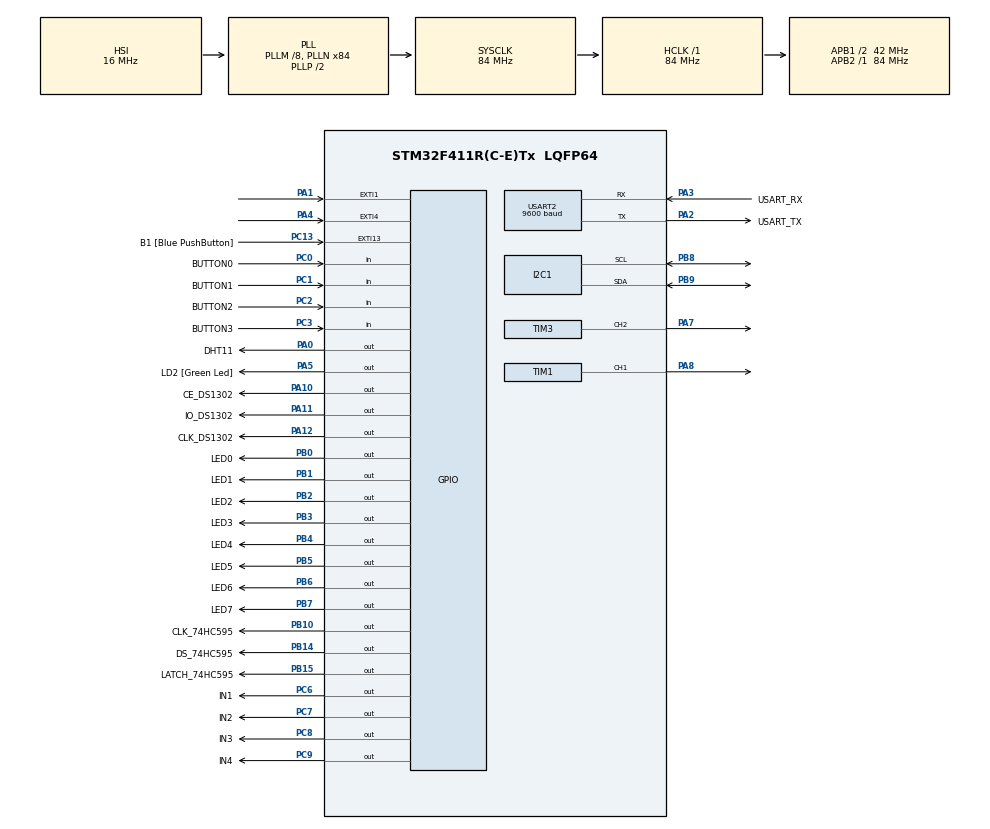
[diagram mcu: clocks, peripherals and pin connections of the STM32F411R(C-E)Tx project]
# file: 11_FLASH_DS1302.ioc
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FREERTOS.Mutexes01=myMutex01,Dynamic,NULL
FREERTOS.Tasks01=defaultTask,24,128,StartDefaultTask,Default,NULL,Dynamic,NULL,NULL;myTask01,8,128,StartTask01,Default,NULL,Dynamic,NULL,NULL;myTask02,8,128,StartTask02,Default,NULL,Dynamic,NULL,NULL
FREERTOS.configUSE_NEWLIB_REENTRANT=1
Mcu.Family=STM32F4
Mcu.Name=STM32F411R(C-E)Tx
Mcu.Package=LQFP64
NVIC.EXTI1_IRQn=true\:5\:0\:false\:false\:true\:true\:true\:true
NVIC.EXTI4_IRQn=true\:5\:0\:false\:false\:true\:true\:true\:true
NVIC.PriorityGroup=NVIC_PRIORITYGROUP_4
NVIC.TIM1_TRG_COM_TIM11_IRQn=true\:5\:0\:false\:false\:true\:false\:false\:true
NVIC.TIM1_UP_TIM10_IRQn=true\:5\:0\:false\:false\:true\:true\:true\:true
NVIC.TimeBase=TIM1_TRG_COM_TIM11_IRQn
NVIC.TimeBaseIP=TIM11
NVIC.USART2_IRQn=true\:5\:0\:false\:false\:true\:true\:true\:true
PA0-WKUP.GPIO_Label=DHT11
PA0-WKUP.Signal=GPIO_Output
PA1.Signal=GPXTI1
PA10.GPIO_Label=CE_DS1302
PA10.Signal=GPIO_Output
PA11.GPIO_Label=IO_DS1302
PA11.Signal=GPIO_Output
PA12.GPIO_Label=CLK_DS1302
PA12.Signal=GPIO_Output
PA13.GPIO_Label=TMS
PA13.Mode=Serial_Wire
PA13.Signal=SYS_JTMS-SWDIO
PA14.GPIO_Label=TCK
PA14.Mode=Serial_Wire
PA14.Signal=SYS_JTCK-SWCLK
PA2.GPIO_Label=USART_TX
PA2.Mode=Asynchronous
PA2.Signal=USART2_TX
PA3.GPIO_Label=USART_RX
PA3.Mode=Asynchronous
PA3.Signal=USART2_RX
PA4.Signal=GPXTI4
PA5.GPIO_Label=LD2 [Green Led]
PA5.Signal=GPIO_Output
PA7.Signal=S_TIM3_CH2
PA8.Signal=S_TIM1_CH1
PB0.GPIO_Label=LED0
PB0.Signal=GPIO_Output
PB1.GPIO_Label=LED1
PB1.Signal=GPIO_Output
PB10.GPIO_Label=CLK_74HC595
PB10.Signal=GPIO_Output
PB14.GPIO_Label=DS_74HC595
PB14.Signal=GPIO_Output
PB15.GPIO_Label=LATCH_74HC595
PB15.Signal=GPIO_Output
PB2.GPIO_Label=LED2
PB2.Signal=GPIO_Output
PB3.GPIO_Label=LED3
PB3.Signal=GPIO_Output
PB4.GPIO_Label=LED4
PB4.Signal=GPIO_Output
PB5.GPIO_Label=LED5
PB5.Signal=GPIO_Output
PB6.GPIO_Label=LED6
PB6.Signal=GPIO_Output
PB7.GPIO_Label=LED7
PB7.Signal=GPIO_Output
PB8.Mode=I2C
PB8.Signal=I2C1_SCL
PB9.Mode=I2C
PB9.Signal=I2C1_SDA
PC0.GPIO_Label=BUTTON0
PC0.Signal=GPIO_Input
PC1.GPIO_Label=BUTTON1
PC1.Signal=GPIO_Input
PC13-ANTI_TAMP.GPIO_Label=B1 [Blue PushButton]
PC13-ANTI_TAMP.GPIO_ModeDefaultEXTI=GPIO_MODE_IT_FALLING
PC13-ANTI_TAMP.Signal=GPXTI13
PC14-OSC32_IN.Mode=LSE-External-Oscillator
PC14-OSC32_IN.Signal=RCC_OSC32_IN
PC15-OSC32_OUT.Mode=LSE-External-Oscillator
PC15-OSC32_OUT.Signal=RCC_OSC32_OUT
PC2.GPIO_Label=BUTTON2
PC2.Signal=GPIO_Input
PC3.GPIO_Label=BUTTON3
PC3.Signal=GPIO_Input
PC6.GPIO_Label=IN1
PC6.Signal=GPIO_Output
PC7.GPIO_Label=IN2
PC7.Signal=GPIO_Output
PC8.GPIO_Label=IN3
PC8.Signal=GPIO_Output
PC9.GPIO_Label=IN4
PC9.Signal=GPIO_Output
PH0\ -\ OSC_IN.Mode=HSE-External-Clock-Source
PH0\ -\ OSC_IN.Signal=RCC_OSC_IN
PH1\ -\ OSC_OUT.Mode=HSE-External-Clock-Source
PH1\ -\ OSC_OUT.Signal=RCC_OSC_OUT
ProjectManager.HeapSize=0x200
ProjectManager.StackSize=0x400
ProjectManager.TargetToolchain=STM32CubeIDE
RCC.48MHZClocksFreq_Value=42000000
RCC.AHBFreq_Value=84000000
RCC.APB1CLKDivider=RCC_HCLK_DIV2
RCC.APB1Freq_Value=42000000
RCC.APB1TimFreq_Value=84000000
RCC.APB2Freq_Value=84000000
RCC.APB2TimFreq_Value=84000000
RCC.CortexFreq_Value=84000000
RCC.FLatency-AdvancedSettings=FLASH_LATENCY_2
RCC.HCLKFreq_Value=84000000
RCC.HSE_VALUE=8000000
RCC.HSI_VALUE=16000000
RCC.PLLM=8
RCC.PLLN=84
RCC.SYSCLKFreq_VALUE=84000000
RCC.SYSCLKSource=RCC_SYSCLKSOURCE_PLLCLK
RCC.VCOOutputFreq_Value=168000000
RTC.Date=8
RTC.Hours=15
RTC.Minutes=32
RTC.Month=RTC_MONTH_OCTOBER
RTC.WeekDay=RTC_WEEKDAY_TUESDAY
RTC.Year=24
SH.S_TIM1_CH1.0=TIM1_CH1,PWM Generation1 CH1
SH.S_TIM3_CH2.0=TIM3_CH2,PWM Generation2 CH2
TIM1.Channel-PWM\ Generation1\ CH1=TIM_CHANNEL_1
TIM1.Period=400-1
TIM1.Prescaler=52.5-1
TIM1.Pulse-PWM\ Generation1\ CH1=200-1
TIM10.Period=1000-1
TIM10.Prescaler=84-1
TIM2.Prescaler=84-1
TIM3.Channel-PWM\ Generation2\ CH2=TIM_CHANNEL_2
TIM3.Period=1000-1
TIM3.Prescaler=1680-1
USART2.BaudRate=9600
USART2.VirtualMode=VM_ASYNC
VP_FREERTOS_VS_CMSIS_V2.Mode=CMSIS_V2
VP_RTC_VS_RTC_Activate.Mode=RTC_Enabled
VP_RTC_VS_RTC_Calendar.Mode=RTC_Calendar
VP_SYS_VS_tim11.Mode=TIM11
VP_TIM10_VS_ClockSourceINT.Mode=Enable_Timer
VP_TIM1_VS_ClockSourceINT.Mode=Internal
VP_TIM2_VS_ClockSourceINT.Mode=Internal
VP_TIM3_VS_ClockSourceINT.Mode=Internal
board=NUCLEO-F411RE

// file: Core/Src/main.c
/* USER CODE BEGIN Header */
/**
  ******************************************************************************
  * @file           : main.c
  * @brief          : Main program body
  ******************************************************************************
  * @attention
  *
  * <h2><center>&copy; Copyright (c) 2024 STMicroelectronics.
  * All rights reserved.</center></h2>
  *
  * This software component is licensed by ST under BSD 3-Clause license,
  * the "License"; You may not use this file except in compliance with the
  * License. You may obtain a copy of the License at:
  *                        opensource.org/licenses/BSD-3-Clause
  *
  ******************************************************************************
  */
/* USER CODE END Header */
#include "main.h"
#include "cmsis_os.h"

I2C_HandleTypeDef hi2c1;

RTC_HandleTypeDef hrtc;

TIM_HandleTypeDef htim1;
TIM_HandleTypeDef htim2;
TIM_HandleTypeDef htim3;
TIM_HandleTypeDef htim10;

UART_HandleTypeDef huart2;

/* Definitions for defaultTask */
osThreadId_t defaultTaskHandle;
const osThreadAttr_t defaultTask_attributes = {
  .name = "defaultTask",
  .stack_size = 128 * 4,
  .priority = (osPriority_t) osPriorityNormal,
};
/* Definitions for myTask01 */
osThreadId_t myTask01Handle;
const osThreadAttr_t myTask01_attributes = {
  .name = "myTask01",
  .stack_size = 128 * 4,
  .priority = (osPriority_t) osPriorityLow,
};
/* Definitions for myTask02 */
osThreadId_t myTask02Handle;
const osThreadAttr_t myTask02_attributes = {
  .name = "myTask02",
  .stack_size = 128 * 4,
  .priority = (osPriority_t) osPriorityLow,
};
/* Definitions for myMutex01 */
osMutexId_t myMutex01Handle;
const osMutexAttr_t myMutex01_attributes = {
  .name = "myMutex01"
};
/* USER CODE BEGIN PV */
volatile int TIM10_1ms_counter = 0;  // ADD_PSJ_0930
volatile int TIM10_1ms_counter1 = 0;
volatile int TIM10_DHT11_counter = 0;
volatile int TIM10_servomotor_counter = 0;
uint8_t rx_data;
/* USER CODE END PV */

void SystemClock_Config(void);
static void MX_GPIO_Init(void);
static void MX_USART2_UART_Init(void);
static void MX_TIM10_Init(void);
static void MX_TIM2_Init(void);
static void MX_RTC_Init(void);
static void MX_I2C1_Init(void);
static void MX_TIM3_Init(void);
static void MX_TIM1_Init(void);
void StartDefaultTask(void *argument);
void StartTask01(void *argument);
void StartTask02(void *argument);

/* USER CODE BEGIN PFP */
extern void led_main(void);
extern void ledbar0_toggle(void);
extern void button_check(void);
extern void pc_command_processing(void);
extern void delay_us(unsigned int us);
//extern void DHT11_main(void);
extern void DHT11_processing(void);
extern void DHT11_Init(void);
extern void get_rtc_date_time(void);
//extern void i2c_lcd_main(void);
extern void i2c_lcd_init(void);
extern void dotmatrix_main_test();
extern int dotmatrix_main(void);
extern void init_dotmatrix(void);
extern int dotmatrix_main_func(void);
extern void init_arrow_up(void);
extern void init_arrow_down(void);
extern void arrow_display(void);
extern void stepmotor_main(void);
extern void stepmotor_forward(void);
extern void arrow_display_stepmotor(void);
extern void servomotor_main(void);
extern void servo_motor_control(void);
extern void buzzer_main();
extern void get_rtc_date(void);
extern void get_rtc_time(void);
extern void flash_main(void);
extern void flash_set_time(void);
extern void alarm_clock(void);
extern void ds1302_main(void);
extern void ds1302_flash_clock(void);
extern void flash_import_time_date(void);
extern void ds1302_init_time_date(void);
extern void ds1302_set_time(void);
extern void ds1302_init_gpio_low(void);
extern void flash_export_time_date(void);
//extern void playSong();
/* USER CODE END PFP */

/* USER CODE BEGIN 0 */
//------------ printf start -----------------------
#ifdef __GNUC__    // Add for printf
/* With GCC, small printf (option LD Linker->Libraries->Small printf
   set to 'Yes') calls __io_putchar() */
#define PUTCHAR_PROTOTYPE int __io_putchar(int ch)
#else
#define PUTCHAR_PROTOTYPE int fputc(int ch, FILE *f)
#endif /* __GNUC__ */
/**
  * @brief  Retargets the C library printf function to the USART.
  * @param  None
  * @retval None
  */
PUTCHAR_PROTOTYPE   // Add for printf
{
  /* Place your implementation of fputc here */
  /* e.g. write a character to the USART2 and Loop until the end of transmission */
  HAL_UART_Transmit(&huart2, (uint8_t *)&ch, 1, 0xFFFF);

  return ch;
}
//-------------------- printf end --------------------
/* USER CODE END 0 */

int main(void)
{

  /* MCU Configuration--------------------------------------------------------*/

  /* Reset of all peripherals, Initializes the Flash interface and the Systick. */
  HAL_Init();

  /* Configure the system clock */
  SystemClock_Config();

  /* Initialize all configured peripherals */
  MX_GPIO_Init();
  MX_USART2_UART_Init();
  MX_TIM10_Init();
  MX_TIM2_Init();
  MX_RTC_Init();
  MX_I2C1_Init();
  MX_TIM3_Init();
  MX_TIM1_Init();
  /* USER CODE BEGIN 2 */
  HAL_TIM_Base_Start_IT(&htim10); // ADD_0930
  HAL_TIM_Base_Start_IT(&htim2); // ADD_0930
  HAL_TIM_Base_Start_IT(&htim1); // ADD_0930
  HAL_TIM_PWM_Start(&htim3, TIM_CHANNEL_2); // Servo motor ADD_1017
  HAL_UART_Receive_IT(&huart2, &rx_data, 1);
  HAL_TIM_PWM_Start(&htim3, TIM_CHANNEL_1); // Servo motor ADD_1017
printf("HAL_TIM_Base_Start!!!!!\n");
ds1302_init_gpio_low();
#if 0
ds1302_set_time();
// setting clock
ds1302_init_time_date();
flash_export_time_date();
#else
flash_import_time_date();
#endif
//ds1302_main();
//playSong();
//buzzer_main();
//init_arrow_up();
//init_arrow_down();
//stepmotor_main();
//DHT11_Init();
//i2c_lcd_init();
//init_dotmatrix();
//dotmatrix_main();
//i2c_lcd_main(); // for checking LCD operation temporary.
//led_main(); // for checking LED operation temporary.
//DHT11_main(); // for checking DHT11 operation temporary.
//dotmatrix_main_test();

//while(1)
//{
//	flash_set_time();
//	pc_command_processing();
//	//flash_main();
//	HAL_Delay(1000);
//}

  /* USER CODE END 2 */

  /* Init scheduler */
  osKernelInitialize();
  /* Create the mutex(es) */
  /* creation of myMutex01 */
  myMutex01Handle = osMutexNew(&myMutex01_attributes);

  /* Create the thread(s) */
  /* creation of defaultTask */
  defaultTaskHandle = osThreadNew(StartDefaultTask, NULL, &defaultTask_attributes);

  /* creation of myTask01 */
  myTask01Handle = osThreadNew(StartTask01, NULL, &myTask01_attributes);

  /* creation of myTask02 */
  myTask02Handle = osThreadNew(StartTask02, NULL, &myTask02_attributes);

  /* Start scheduler */
  osKernelStart();

  /* We should never get here as control is now taken by the scheduler */
  /* Infinite loop */
  /* USER CODE BEGIN WHILE */
  while (1)
  {

	  HAL_GPIO_TogglePin(GPIOA, GPIO_PIN_5); //Ctrl + Space
	  HAL_Delay(1000);
    /* USER CODE END WHILE */

  }
}

void SystemClock_Config(void)
{
  RCC_OscInitTypeDef RCC_OscInitStruct = {0};
  RCC_ClkInitTypeDef RCC_ClkInitStruct = {0};

  /** Configure the main internal regulator output voltage
  */
  __HAL_RCC_PWR_CLK_ENABLE();
  __HAL_PWR_VOLTAGESCALING_CONFIG(PWR_REGULATOR_VOLTAGE_SCALE1);
  /** Initializes the RCC Oscillators according to the specified parameters
  * in the RCC_OscInitTypeDef structure.
  */
  RCC_OscInitStruct.OscillatorType = RCC_OSCILLATORTYPE_HSI|RCC_OSCILLATORTYPE_LSI;
  RCC_OscInitStruct.HSIState = RCC_HSI_ON;
  RCC_OscInitStruct.HSICalibrationValue = RCC_HSICALIBRATION_DEFAULT;
  RCC_OscInitStruct.LSIState = RCC_LSI_ON;
  RCC_OscInitStruct.PLL.PLLState = RCC_PLL_ON;
  RCC_OscInitStruct.PLL.PLLSource = RCC_PLLSOURCE_HSI;
  RCC_OscInitStruct.PLL.PLLM = 8;
  RCC_OscInitStruct.PLL.PLLN = 84;
  RCC_OscInitStruct.PLL.PLLP = RCC_PLLP_DIV2;
  RCC_OscInitStruct.PLL.PLLQ = 4;
  if (HAL_RCC_OscConfig(&RCC_OscInitStruct) != HAL_OK)
  {
    Error_Handler();
  }
  /** Initializes the CPU, AHB and APB buses clocks
  */
  RCC_ClkInitStruct.ClockType = RCC_CLOCKTYPE_HCLK|RCC_CLOCKTYPE_SYSCLK
                              |RCC_CLOCKTYPE_PCLK1|RCC_CLOCKTYPE_PCLK2;
  RCC_ClkInitStruct.SYSCLKSource = RCC_SYSCLKSOURCE_PLLCLK;
  RCC_ClkInitStruct.AHBCLKDivider = RCC_SYSCLK_DIV1;
  RCC_ClkInitStruct.APB1CLKDivider = RCC_HCLK_DIV2;
  RCC_ClkInitStruct.APB2CLKDivider = RCC_HCLK_DIV1;

  if (HAL_RCC_ClockConfig(&RCC_ClkInitStruct, FLASH_LATENCY_2) != HAL_OK)
  {
    Error_Handler();
  }
}

static void MX_I2C1_Init(void)
{

  hi2c1.Instance = I2C1;
  hi2c1.Init.ClockSpeed = 100000;
  hi2c1.Init.DutyCycle = I2C_DUTYCYCLE_2;
  hi2c1.Init.OwnAddress1 = 0;
  hi2c1.Init.AddressingMode = I2C_ADDRESSINGMODE_7BIT;
  hi2c1.Init.DualAddressMode = I2C_DUALADDRESS_DISABLE;
  hi2c1.Init.OwnAddress2 = 0;
  hi2c1.Init.GeneralCallMode = I2C_GENERALCALL_DISABLE;
  hi2c1.Init.NoStretchMode = I2C_NOSTRETCH_DISABLE;
  if (HAL_I2C_Init(&hi2c1) != HAL_OK)
  {
    Error_Handler();
  }

}

static void MX_RTC_Init(void)
{

  RTC_TimeTypeDef sTime = {0};
  RTC_DateTypeDef sDate = {0};

  /** Initialize RTC Only
  */
  hrtc.Instance = RTC;
  hrtc.Init.HourFormat = RTC_HOURFORMAT_24;
  hrtc.Init.AsynchPrediv = 127;
  hrtc.Init.SynchPrediv = 255;
  hrtc.Init.OutPut = RTC_OUTPUT_DISABLE;
  hrtc.Init.OutPutPolarity = RTC_OUTPUT_POLARITY_HIGH;
  hrtc.Init.OutPutType = RTC_OUTPUT_TYPE_OPENDRAIN;
  if (HAL_RTC_Init(&hrtc) != HAL_OK)
  {
    Error_Handler();
  }

  /** Initialize RTC and set the Time and Date
  */
  sTime.Hours = 0x15;
  sTime.Minutes = 0x32;
  sTime.Seconds = 0x0;
  sTime.DayLightSaving = RTC_DAYLIGHTSAVING_NONE;
  sTime.StoreOperation = RTC_STOREOPERATION_RESET;
  if (HAL_RTC_SetTime(&hrtc, &sTime, RTC_FORMAT_BCD) != HAL_OK)
  {
    Error_Handler();
  }
  sDate.WeekDay = RTC_WEEKDAY_TUESDAY;
  sDate.Month = RTC_MONTH_OCTOBER;
  sDate.Date = 0x8;
  sDate.Year = 0x24;

  if (HAL_RTC_SetDate(&hrtc, &sDate, RTC_FORMAT_BCD) != HAL_OK)
  {
    Error_Handler();
  }

}

static void MX_TIM1_Init(void)
{

  TIM_ClockConfigTypeDef sClockSourceConfig = {0};
  TIM_MasterConfigTypeDef sMasterConfig = {0};
  TIM_OC_InitTypeDef sConfigOC = {0};
  TIM_BreakDeadTimeConfigTypeDef sBreakDeadTimeConfig = {0};

  htim1.Instance = TIM1;
  htim1.Init.Prescaler = 52.5-1;
  htim1.Init.CounterMode = TIM_COUNTERMODE_UP;
  htim1.Init.Period = 400-1;
  htim1.Init.ClockDivision = TIM_CLOCKDIVISION_DIV1;
  htim1.Init.RepetitionCounter = 0;
  htim1.Init.AutoReloadPreload = TIM_AUTORELOAD_PRELOAD_DISABLE;
  if (HAL_TIM_Base_Init(&htim1) != HAL_OK)
  {
    Error_Handler();
  }
  sClockSourceConfig.ClockSource = TIM_CLOCKSOURCE_INTERNAL;
  if (HAL_TIM_ConfigClockSource(&htim1, &sClockSourceConfig) != HAL_OK)
  {
    Error_Handler();
  }
  if (HAL_TIM_PWM_Init(&htim1) != HAL_OK)
  {
    Error_Handler();
  }
  sMasterConfig.MasterOutputTrigger = TIM_TRGO_RESET;
  sMasterConfig.MasterSlaveMode = TIM_MASTERSLAVEMODE_DISABLE;
  if (HAL_TIMEx_MasterConfigSynchronization(&htim1, &sMasterConfig) != HAL_OK)
  {
    Error_Handler();
  }
  sConfigOC.OCMode = TIM_OCMODE_PWM1;
  sConfigOC.Pulse = 200-1;
  sConfigOC.OCPolarity = TIM_OCPOLARITY_HIGH;
  sConfigOC.OCNPolarity = TIM_OCNPOLARITY_HIGH;
  sConfigOC.OCFastMode = TIM_OCFAST_DISABLE;
  sConfigOC.OCIdleState = TIM_OCIDLESTATE_RESET;
  sConfigOC.OCNIdleState = TIM_OCNIDLESTATE_RESET;
  if (HAL_TIM_PWM_ConfigChannel(&htim1, &sConfigOC, TIM_CHANNEL_1) != HAL_OK)
  {
    Error_Handler();
  }
  sBreakDeadTimeConfig.OffStateRunMode = TIM_OSSR_DISABLE;
  sBreakDeadTimeConfig.OffStateIDLEMode = TIM_OSSI_DISABLE;
  sBreakDeadTimeConfig.LockLevel = TIM_LOCKLEVEL_OFF;
  sBreakDeadTimeConfig.DeadTime = 0;
  sBreakDeadTimeConfig.BreakState = TIM_BREAK_DISABLE;
  sBreakDeadTimeConfig.BreakPolarity = TIM_BREAKPOLARITY_HIGH;
  sBreakDeadTimeConfig.AutomaticOutput = TIM_AUTOMATICOUTPUT_DISABLE;
  if (HAL_TIMEx_ConfigBreakDeadTime(&htim1, &sBreakDeadTimeConfig) != HAL_OK)
  {
    Error_Handler();
  }
  HAL_TIM_MspPostInit(&htim1);

}

static void MX_TIM2_Init(void)
{

  TIM_ClockConfigTypeDef sClockSourceConfig = {0};
  TIM_MasterConfigTypeDef sMasterConfig = {0};

  htim2.Instance = TIM2;
  htim2.Init.Prescaler = 84-1;
  htim2.Init.CounterMode = TIM_COUNTERMODE_UP;
  htim2.Init.Period = 4294967295;
  htim2.Init.ClockDivision = TIM_CLOCKDIVISION_DIV1;
  htim2.Init.AutoReloadPreload = TIM_AUTORELOAD_PRELOAD_DISABLE;
  if (HAL_TIM_Base_Init(&htim2) != HAL_OK)
  {
    Error_Handler();
  }
  sClockSourceConfig.ClockSource = TIM_CLOCKSOURCE_INTERNAL;
  if (HAL_TIM_ConfigClockSource(&htim2, &sClockSourceConfig) != HAL_OK)
  {
    Error_Handler();
  }
  sMasterConfig.MasterOutputTrigger = TIM_TRGO_RESET;
  sMasterConfig.MasterSlaveMode = TIM_MASTERSLAVEMODE_DISABLE;
  if (HAL_TIMEx_MasterConfigSynchronization(&htim2, &sMasterConfig) != HAL_OK)
  {
    Error_Handler();
  }

}

static void MX_TIM3_Init(void)
{

  TIM_ClockConfigTypeDef sClockSourceConfig = {0};
  TIM_MasterConfigTypeDef sMasterConfig = {0};
  TIM_OC_InitTypeDef sConfigOC = {0};

  htim3.Instance = TIM3;
  htim3.Init.Prescaler = 1680-1;
  htim3.Init.CounterMode = TIM_COUNTERMODE_UP;
  htim3.Init.Period = 1000-1;
  htim3.Init.ClockDivision = TIM_CLOCKDIVISION_DIV1;
  htim3.Init.AutoReloadPreload = TIM_AUTORELOAD_PRELOAD_DISABLE;
  if (HAL_TIM_Base_Init(&htim3) != HAL_OK)
  {
    Error_Handler();
  }
  sClockSourceConfig.ClockSource = TIM_CLOCKSOURCE_INTERNAL;
  if (HAL_TIM_ConfigClockSource(&htim3, &sClockSourceConfig) != HAL_OK)
  {
    Error_Handler();
  }
  if (HAL_TIM_PWM_Init(&htim3) != HAL_OK)
  {
    Error_Handler();
  }
  sMasterConfig.MasterOutputTrigger = TIM_TRGO_RESET;
  sMasterConfig.MasterSlaveMode = TIM_MASTERSLAVEMODE_DISABLE;
  if (HAL_TIMEx_MasterConfigSynchronization(&htim3, &sMasterConfig) != HAL_OK)
  {
    Error_Handler();
  }
  sConfigOC.OCMode = TIM_OCMODE_PWM1;
  sConfigOC.Pulse = 0;
  sConfigOC.OCPolarity = TIM_OCPOLARITY_HIGH;
  sConfigOC.OCFastMode = TIM_OCFAST_DISABLE;
  if (HAL_TIM_PWM_ConfigChannel(&htim3, &sConfigOC, TIM_CHANNEL_2) != HAL_OK)
  {
    Error_Handler();
  }
  HAL_TIM_MspPostInit(&htim3);

}

static void MX_TIM10_Init(void)
{

  htim10.Instance = TIM10;
  htim10.Init.Prescaler = 84-1;
  htim10.Init.CounterMode = TIM_COUNTERMODE_UP;
  htim10.Init.Period = 1000-1;
  htim10.Init.ClockDivision = TIM_CLOCKDIVISION_DIV1;
  htim10.Init.AutoReloadPreload = TIM_AUTORELOAD_PRELOAD_DISABLE;
  if (HAL_TIM_Base_Init(&htim10) != HAL_OK)
  {
    Error_Handler();
  }

}

static void MX_USART2_UART_Init(void)
{

  huart2.Instance = USART2;
  huart2.Init.BaudRate = 9600;
  huart2.Init.WordLength = UART_WORDLENGTH_8B;
  huart2.Init.StopBits = UART_STOPBITS_1;
  huart2.Init.Parity = UART_PARITY_NONE;
  huart2.Init.Mode = UART_MODE_TX_RX;
  huart2.Init.HwFlowCtl = UART_HWCONTROL_NONE;
  huart2.Init.OverSampling = UART_OVERSAMPLING_16;
  if (HAL_UART_Init(&huart2) != HAL_OK)
  {
    Error_Handler();
  }

}

static void MX_GPIO_Init(void)
{
  GPIO_InitTypeDef GPIO_InitStruct = {0};

  /* GPIO Ports Clock Enable */
  __HAL_RCC_GPIOC_CLK_ENABLE();
  __HAL_RCC_GPIOH_CLK_ENABLE();
  __HAL_RCC_GPIOA_CLK_ENABLE();
  __HAL_RCC_GPIOB_CLK_ENABLE();

  /*Configure GPIO pin Output Level */
  HAL_GPIO_WritePin(GPIOA, DHT11_Pin|LD2_Pin|CE_DS1302_Pin|IO_DS1302_Pin
                          |CLK_DS1302_Pin, GPIO_PIN_RESET);

  /*Configure GPIO pin Output Level */
  HAL_GPIO_WritePin(GPIOB, LED0_Pin|LED1_Pin|LED2_Pin|CLK_74HC595_Pin
                          |DS_74HC595_Pin|LATCH_74HC595_Pin|LED3_Pin|LED4_Pin
                          |LED5_Pin|LED6_Pin|LED7_Pin, GPIO_PIN_RESET);

  /*Configure GPIO pin Output Level */
  HAL_GPIO_WritePin(GPIOC, IN1_Pin|IN2_Pin|IN3_Pin|IN4_Pin, GPIO_PIN_RESET);

  /*Configure GPIO pin : B1_Pin */
  GPIO_InitStruct.Pin = B1_Pin;
  GPIO_InitStruct.Mode = GPIO_MODE_IT_FALLING;
  GPIO_InitStruct.Pull = GPIO_NOPULL;
  HAL_GPIO_Init(B1_GPIO_Port, &GPIO_InitStruct);

  /*Configure GPIO pins : BUTTON0_Pin BUTTON1_Pin BUTTON2_Pin BUTTON3_Pin */
  GPIO_InitStruct.Pin = BUTTON0_Pin|BUTTON1_Pin|BUTTON2_Pin|BUTTON3_Pin;
  GPIO_InitStruct.Mode = GPIO_MODE_INPUT;
  GPIO_InitStruct.Pull = GPIO_NOPULL;
  HAL_GPIO_Init(GPIOC, &GPIO_InitStruct);

  /*Configure GPIO pins : DHT11_Pin LD2_Pin CE_DS1302_Pin IO_DS1302_Pin
                           CLK_DS1302_Pin */
  GPIO_InitStruct.Pin = DHT11_Pin|LD2_Pin|CE_DS1302_Pin|IO_DS1302_Pin
                          |CLK_DS1302_Pin;
  GPIO_InitStruct.Mode = GPIO_MODE_OUTPUT_PP;
  GPIO_InitStruct.Pull = GPIO_NOPULL;
  GPIO_InitStruct.Speed = GPIO_SPEED_FREQ_LOW;
  HAL_GPIO_Init(GPIOA, &GPIO_InitStruct);

  /*Configure GPIO pins : PA1 PA4 */
  GPIO_InitStruct.Pin = GPIO_PIN_1|GPIO_PIN_4;
  GPIO_InitStruct.Mode = GPIO_MODE_IT_RISING;
  GPIO_InitStruct.Pull = GPIO_NOPULL;
  HAL_GPIO_Init(GPIOA, &GPIO_InitStruct);

  /*Configure GPIO pins : LED0_Pin LED1_Pin LED2_Pin CLK_74HC595_Pin
                           DS_74HC595_Pin LATCH_74HC595_Pin LED3_Pin LED4_Pin
                           LED5_Pin LED6_Pin LED7_Pin */
  GPIO_InitStruct.Pin = LED0_Pin|LED1_Pin|LED2_Pin|CLK_74HC595_Pin
                          |DS_74HC595_Pin|LATCH_74HC595_Pin|LED3_Pin|LED4_Pin
                          |LED5_Pin|LED6_Pin|LED7_Pin;
  GPIO_InitStruct.Mode = GPIO_MODE_OUTPUT_PP;
  GPIO_InitStruct.Pull = GPIO_NOPULL;
  GPIO_InitStruct.Speed = GPIO_SPEED_FREQ_LOW;
  HAL_GPIO_Init(GPIOB, &GPIO_InitStruct);

  /*Configure GPIO pins : IN1_Pin IN2_Pin IN3_Pin IN4_Pin */
  GPIO_InitStruct.Pin = IN1_Pin|IN2_Pin|IN3_Pin|IN4_Pin;
  GPIO_InitStruct.Mode = GPIO_MODE_OUTPUT_PP;
  GPIO_InitStruct.Pull = GPIO_NOPULL;
  GPIO_InitStruct.Speed = GPIO_SPEED_FREQ_LOW;
  HAL_GPIO_Init(GPIOC, &GPIO_InitStruct);

  /* EXTI interrupt init*/
  HAL_NVIC_SetPriority(EXTI1_IRQn, 5, 0);
  HAL_NVIC_EnableIRQ(EXTI1_IRQn);

  HAL_NVIC_SetPriority(EXTI4_IRQn, 5, 0);
  HAL_NVIC_EnableIRQ(EXTI4_IRQn);

}

void StartDefaultTask(void *argument)
{
  /* USER CODE BEGIN 5 */
  /* Infinite loop */
  for(;;)
  {
	  //servomotor_main();
	//button_check();
	//DHT11_processing();
    osDelay(1);
  }
  /* USER CODE END 5 */
}

void StartTask01(void *argument)
{
  /* USER CODE BEGIN StartTask01 */
  /* Infinite loop */
  for(;;)
  {
#if 1
	  //arrow_display_stepmotor();
	  //arrow_display();
	  //dotmatrix_main_func();
	  //get_rtc_date_time();
//		if (osMutexAcquire(myMutex01Handle, 1000) == osOK) // Lock
//		{
//			// Lock state
//			get_rtc_time();
//
//			osMutexRelease(myMutex01Handle); // unlock
//			// switching other task
//		}
//	  if (TIM10_1ms_counter1 >= 1000)
//	  {
//		  TIM10_1ms_counter1 = 0;
//		  flash_set_time();
//	  }
//	  alarm_clock();
	  ds1302_flash_clock();
#else
	  //ledbar0_toggle();
	  HAL_GPIO_TogglePin(GPIOA, GPIO_PIN_5);
	  delay_us(50000); // 50ms
#endif
	  osDelay(1);
  }
  /* USER CODE END StartTask01 */
}

void StartTask02(void *argument)
{
  /* USER CODE BEGIN StartTask02 */
  /* Infinite loop */
	for(;;)
	{
//		if (osMutexWait(myMutex01Handle, 1000) == osOK) // Lock (Prevent the I2C LCD protocol from getting tangled)
//		{
//			// Lock state
//			get_rtc_date();
//
//			osMutexRelease(myMutex01Handle); // unlock
//			// switching other task
//		}
		//servo_motor_control();
		//stepmotor_main();
		//HAL_GPIO_TogglePin(GPIOA, GPIO_PIN_5); //Ctrl + Space
#if 0 // use timer/counter
		if( TIM10_1ms_counter >= 50)
		{
			HAL_GPIO_TogglePin(GPIOA, GPIO_PIN_5);
			TIM10_1ms_counter = 0;
		}
#endif
		pc_command_processing();
		//led_main();
		osDelay(1);
	}
  /* USER CODE END StartTask02 */
}

void HAL_TIM_PeriodElapsedCallback(TIM_HandleTypeDef *htim)
{
  if (htim->Instance == TIM11) {
    HAL_IncTick();
  }
  /* USER CODE BEGIN Callback 1 */
  if (htim->Instance == TIM10) { // add PSJ 0930
      TIM10_1ms_counter++;
      TIM10_1ms_counter1++;
      TIM10_DHT11_counter++;
      TIM10_servomotor_counter++;
   }
  /* USER CODE END Callback 1 */
}

void Error_Handler(void)
{
  __disable_irq();
  while (1)
  {
  }
}

/************************ (C) COPYRIGHT STMicroelectronics *****END OF FILE****/
